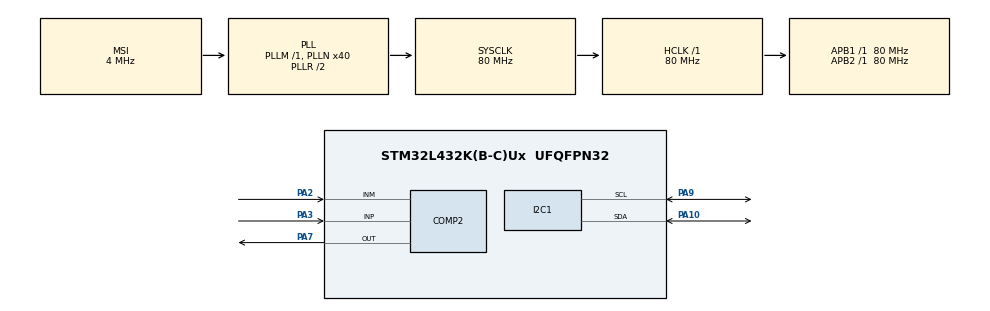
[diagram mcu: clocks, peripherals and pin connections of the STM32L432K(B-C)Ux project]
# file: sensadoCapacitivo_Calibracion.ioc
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COMP2.Hysteresis=COMP_HYSTERESIS_HIGH
COMP2.TriggerMode=COMP_TRIGGERMODE_IT_RISING
I2C1.NoStretchMode=I2C_NOSTRETCH_ENABLE
I2C1.OwnAddress=0x32
I2C1.Timing=0x10D19CE4
Mcu.Family=STM32L4
Mcu.Name=STM32L432K(B-C)Ux
Mcu.Package=UFQFPN32
NVIC.COMP_IRQn=true\:0\:0\:false\:false\:true\:false\:true\:true
NVIC.I2C1_ER_IRQn=true\:0\:0\:false\:false\:true\:true\:true\:true
NVIC.I2C1_EV_IRQn=true\:0\:0\:false\:false\:true\:true\:true\:true
NVIC.PriorityGroup=NVIC_PRIORITYGROUP_4
PA10.GPIO_Pu=GPIO_NOPULL
PA10.Mode=I2C
PA10.Signal=I2C1_SDA
PA13\ (JTMS-SWDIO).Mode=Serial_Wire
PA13\ (JTMS-SWDIO).Signal=SYS_JTMS-SWDIO
PA14\ (JTCK-SWCLK).Mode=Serial_Wire
PA14\ (JTCK-SWCLK).Signal=SYS_JTCK-SWCLK
PA2.Mode=INM
PA2.Signal=COMP2_INM
PA3.Mode=INP
PA3.Signal=COMP2_INP
PA7.Mode=ExternalOutput
PA7.Signal=COMP2_OUT
PA9.GPIO_Pu=GPIO_NOPULL
PA9.Mode=I2C
PA9.Signal=I2C1_SCL
ProjectManager.HeapSize=0x200
ProjectManager.StackSize=0x400
ProjectManager.TargetToolchain=STM32CubeIDE
RCC.AHBFreq_Value=80000000
RCC.APB1Freq_Value=80000000
RCC.APB1TimFreq_Value=80000000
RCC.APB2Freq_Value=80000000
RCC.APB2TimFreq_Value=80000000
RCC.CortexFreq_Value=80000000
RCC.HCLKFreq_Value=80000000
RCC.HSE_VALUE=8000000
RCC.HSI48_VALUE=48000000
RCC.HSI_VALUE=16000000
RCC.LSE_VALUE=32768
RCC.MSI_VALUE=4000000
RCC.PLLN=40
RCC.SYSCLKFreq_VALUE=80000000
RCC.SYSCLKSource=RCC_SYSCLKSOURCE_PLLCLK
RCC.VCOOutputFreq_Value=160000000
VP_TIM2_VS_ClockSourceINT.Mode=Internal
board=custom

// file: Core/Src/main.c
/* USER CODE BEGIN Header */
/**
  ******************************************************************************
  * @file           : main.c
  * @brief          : Main program body
  ******************************************************************************
  * @attention
  *
  * Copyright (c) 2026 STMicroelectronics.
  * All rights reserved.
  *
  * This software is licensed under terms that can be found in the LICENSE file
  * in the root directory of this software component.
  * If no LICENSE file comes with this software, it is provided AS-IS.
  *
  ******************************************************************************
  */
/* USER CODE END Header */
#include "main.h"

/* USER CODE BEGIN PTD */
typedef union {
	float float_freq;
	uint8_t bytes_freq[4];
} osc_freq_union;
/* USER CODE END PTD */

/* USER CODE BEGIN PD */
#define clk_freq	80000000.0	// 80 MHz
/* USER CODE END PD */

COMP_HandleTypeDef hcomp2;

I2C_HandleTypeDef hi2c1;

TIM_HandleTypeDef htim2;

/* USER CODE BEGIN PV */
// OSCILLATOR FREQUENCY (TIM) VARIABLES
volatile uint32_t ic_t1 = 0;	// Input capture (ic) initial time (in timer counter ticks)
volatile uint32_t ic_t2 = 0;	// Input capture (ic) final time (in timer counter ticks)
volatile uint32_t diff = 0;		// Period between ic_t1 and ic_t2 in timer ticks
volatile uint16_t first_ic = 1;	// ic_t1 input capture flag
volatile osc_freq_union osc_freq;	// Oscillator frequency

// I2C VARIABLES
uint8_t i2c_tx_buffer[4];	// 32-bit transmit buffer osc_freq (float) variable for I2C bus

/* USER CODE END PV */

void SystemClock_Config(void);
static void MX_GPIO_Init(void);
static void MX_COMP2_Init(void);
static void MX_I2C1_Init(void);
static void MX_TIM2_Init(void);

int main(void)
{

  /* MCU Configuration--------------------------------------------------------*/

  /* Reset of all peripherals, Initializes the Flash interface and the Systick. */
  HAL_Init();

  /* Configure the system clock */
  SystemClock_Config();

  /* Initialize all configured peripherals */
  MX_GPIO_Init();
  MX_COMP2_Init();
  MX_I2C1_Init();
  MX_TIM2_Init();
  /* USER CODE BEGIN 2 */
  // TIMER
  HAL_TIM_Base_Start(&htim2);

  // COMPARATOR (OSCILLATOR)
  HAL_COMP_Start_IT(&hcomp2);	// Starts the oscillator with external interrupt enabled

  HAL_I2C_Slave_Transmit_IT(&hi2c1, i2c_tx_buffer, 4);

  /* USER CODE END 2 */

  /* Infinite loop */
  /* USER CODE BEGIN WHILE */
  while (1)
  {
	  // HAL_PWR_EnterSLEEPMode(PWR_MAINREGULATOR_ON, PWR_SLEEPENTRY_WFI);	// Enters sleepMode and waits for interrupt
    /* USER CODE END WHILE */

  }
}

void SystemClock_Config(void)
{
  RCC_OscInitTypeDef RCC_OscInitStruct = {0};
  RCC_ClkInitTypeDef RCC_ClkInitStruct = {0};

  /** Configure the main internal regulator output voltage
  */
  if (HAL_PWREx_ControlVoltageScaling(PWR_REGULATOR_VOLTAGE_SCALE1) != HAL_OK)
  {
    Error_Handler();
  }

  /** Initializes the RCC Oscillators according to the specified parameters
  * in the RCC_OscInitTypeDef structure.
  */
  RCC_OscInitStruct.OscillatorType = RCC_OSCILLATORTYPE_MSI;
  RCC_OscInitStruct.MSIState = RCC_MSI_ON;
  RCC_OscInitStruct.MSICalibrationValue = 0;
  RCC_OscInitStruct.MSIClockRange = RCC_MSIRANGE_6;
  RCC_OscInitStruct.PLL.PLLState = RCC_PLL_ON;
  RCC_OscInitStruct.PLL.PLLSource = RCC_PLLSOURCE_MSI;
  RCC_OscInitStruct.PLL.PLLM = 1;
  RCC_OscInitStruct.PLL.PLLN = 40;
  RCC_OscInitStruct.PLL.PLLP = RCC_PLLP_DIV7;
  RCC_OscInitStruct.PLL.PLLQ = RCC_PLLQ_DIV2;
  RCC_OscInitStruct.PLL.PLLR = RCC_PLLR_DIV2;
  if (HAL_RCC_OscConfig(&RCC_OscInitStruct) != HAL_OK)
  {
    Error_Handler();
  }

  /** Initializes the CPU, AHB and APB buses clocks
  */
  RCC_ClkInitStruct.ClockType = RCC_CLOCKTYPE_HCLK|RCC_CLOCKTYPE_SYSCLK
                              |RCC_CLOCKTYPE_PCLK1|RCC_CLOCKTYPE_PCLK2;
  RCC_ClkInitStruct.SYSCLKSource = RCC_SYSCLKSOURCE_PLLCLK;
  RCC_ClkInitStruct.AHBCLKDivider = RCC_SYSCLK_DIV1;
  RCC_ClkInitStruct.APB1CLKDivider = RCC_HCLK_DIV1;
  RCC_ClkInitStruct.APB2CLKDivider = RCC_HCLK_DIV1;

  if (HAL_RCC_ClockConfig(&RCC_ClkInitStruct, FLASH_LATENCY_4) != HAL_OK)
  {
    Error_Handler();
  }
}

static void MX_COMP2_Init(void)
{

  hcomp2.Instance = COMP2;
  hcomp2.Init.InvertingInput = COMP_INPUT_MINUS_IO3;
  hcomp2.Init.NonInvertingInput = COMP_INPUT_PLUS_IO3;
  hcomp2.Init.OutputPol = COMP_OUTPUTPOL_NONINVERTED;
  hcomp2.Init.Hysteresis = COMP_HYSTERESIS_HIGH;
  hcomp2.Init.BlankingSrce = COMP_BLANKINGSRC_NONE;
  hcomp2.Init.Mode = COMP_POWERMODE_HIGHSPEED;
  hcomp2.Init.WindowMode = COMP_WINDOWMODE_DISABLE;
  hcomp2.Init.TriggerMode = COMP_TRIGGERMODE_IT_RISING;
  if (HAL_COMP_Init(&hcomp2) != HAL_OK)
  {
    Error_Handler();
  }

}

static void MX_I2C1_Init(void)
{

  hi2c1.Instance = I2C1;
  hi2c1.Init.Timing = 0x10D19CE4;
  hi2c1.Init.OwnAddress1 = 100;
  hi2c1.Init.AddressingMode = I2C_ADDRESSINGMODE_7BIT;
  hi2c1.Init.DualAddressMode = I2C_DUALADDRESS_DISABLE;
  hi2c1.Init.OwnAddress2 = 0;
  hi2c1.Init.OwnAddress2Masks = I2C_OA2_NOMASK;
  hi2c1.Init.GeneralCallMode = I2C_GENERALCALL_DISABLE;
  hi2c1.Init.NoStretchMode = I2C_NOSTRETCH_ENABLE;
  if (HAL_I2C_Init(&hi2c1) != HAL_OK)
  {
    Error_Handler();
  }

  /** Configure Analogue filter
  */
  if (HAL_I2CEx_ConfigAnalogFilter(&hi2c1, I2C_ANALOGFILTER_ENABLE) != HAL_OK)
  {
    Error_Handler();
  }

  /** Configure Digital filter
  */
  if (HAL_I2CEx_ConfigDigitalFilter(&hi2c1, 0) != HAL_OK)
  {
    Error_Handler();
  }

}

static void MX_TIM2_Init(void)
{

  TIM_ClockConfigTypeDef sClockSourceConfig = {0};
  TIM_MasterConfigTypeDef sMasterConfig = {0};

  htim2.Instance = TIM2;
  htim2.Init.Prescaler = 0;
  htim2.Init.CounterMode = TIM_COUNTERMODE_UP;
  htim2.Init.Period = 4294967295;
  htim2.Init.ClockDivision = TIM_CLOCKDIVISION_DIV1;
  htim2.Init.AutoReloadPreload = TIM_AUTORELOAD_PRELOAD_DISABLE;
  if (HAL_TIM_Base_Init(&htim2) != HAL_OK)
  {
    Error_Handler();
  }
  sClockSourceConfig.ClockSource = TIM_CLOCKSOURCE_INTERNAL;
  if (HAL_TIM_ConfigClockSource(&htim2, &sClockSourceConfig) != HAL_OK)
  {
    Error_Handler();
  }
  sMasterConfig.MasterOutputTrigger = TIM_TRGO_RESET;
  sMasterConfig.MasterSlaveMode = TIM_MASTERSLAVEMODE_DISABLE;
  if (HAL_TIMEx_MasterConfigSynchronization(&htim2, &sMasterConfig) != HAL_OK)
  {
    Error_Handler();
  }

}

static void MX_GPIO_Init(void)
{

  /* GPIO Ports Clock Enable */
  __HAL_RCC_GPIOA_CLK_ENABLE();

}

/* USER CODE BEGIN 4 */
void HAL_COMP_TriggerCallback(COMP_HandleTypeDef *hcomp)
{
	if(hcomp->Instance == COMP2)
	{
		if(first_ic == 1)
		{
			ic_t1 = __HAL_TIM_GET_COUNTER(&htim2);
			first_ic = 0;
		}
		else
		{
			ic_t2 = __HAL_TIM_GET_COUNTER(&htim2);
			diff = (ic_t2 > ic_t1) ? (ic_t2 - ic_t1) : (0xFFFFFFFF - ic_t1 + ic_t2 + 1);
		}

		osc_freq.float_freq = clk_freq / (float)diff;

		i2c_tx_buffer[0] = osc_freq.bytes_freq[0];
		i2c_tx_buffer[1] = osc_freq.bytes_freq[1];
		i2c_tx_buffer[2] = osc_freq.bytes_freq[2];
		i2c_tx_buffer[3] = osc_freq.bytes_freq[3];

		ic_t1 = ic_t2;
	}
}

/* void HAL_TIM_IC_CaptureCallback(TIM_HandleTypeDef *htim)
{
	// Checks for timer 2 and channel 2 in case other timers/channels are enabled in the future
	if(htim->Instance == TIM2 && htim->Channel == HAL_TIM_ACTIVE_CHANNEL_2)
	{
		// Checks if it is goint to read ic_t1
		if(first_ic == 1)
		{
			ic_t1 = HAL_TIM_ReadCapturedValue(htim, TIM_CHANNEL_2);	// Reads captured value as ic_t1
			first_ic = 0;	// Clears the first_ic flag so it reads ic_t2 on the next input capture (ic)
		}
		else
		{
			ic_t2 = HAL_TIM_ReadCapturedValue(htim, TIM_CHANNEL_2);	// Reads cptured value as ic_t2
			diff = (ic_t1 < ic_t2) ? (ic_t2 - ic_t1):(0xFFFFFFFF - ic_t1 + ic_t2);
			 *
			 * Signal period in ticks is t2-t1 if t2>t1 and 0xFFFF_FFFF - t1 + t2 if t1 > t2
			 * NOTE: It is no necessary to check for other scenarios, because 32 bits timer period at 80[MHz] is 53.687[s] which would be equivalent to 3.87 [mF]
			 *
			osc_freq.float_freq = clk_freq/diff; // Calculates signal freqeuency

			// I2C Transmitt (tx) buffer update
			i2c_tx_buffer[0] = osc_freq.bytes_freq[0];
			i2c_tx_buffer[1] = osc_freq.bytes_freq[1];
			i2c_tx_buffer[2] = osc_freq.bytes_freq[2];
			i2c_tx_buffer[3] = osc_freq.bytes_freq[3];

			// Setup for next osc_freq calculation
			__HAL_TIM_SET_COUNTER(htim, 0);	// Resets timer counter to 0
			first_ic = 1;	// Sets the first_ic flag so it waits awain for the ic_t1 value
		}
	}

}
*/

void HAL_I2C_AddrCallback(I2C_HandleTypeDef *hi2c, uint8_t transfer_direction, uint16_t address)
{
	if(hi2c->Instance == I2C1)
	{
		if(transfer_direction == I2C_DIRECTION_TRANSMIT)
		{
			HAL_I2C_Slave_Seq_Transmit_IT(hi2c, i2c_tx_buffer, 4, I2C_FIRST_AND_LAST_FRAME);
		}
	}
}

void HAL_I2C_SlaveTxCpltCallback(I2C_HandleTypeDef *hi2c)
{
	if(hi2c->Instance == I2C1)
		{
			// The Pico just finished reading the data.
			// Immediately preload the buffer again for the next read request!
			HAL_I2C_Slave_Transmit_IT(&hi2c1, i2c_tx_buffer, 4);
		}
}
/* USER CODE END 4 */

void Error_Handler(void)
{
  __disable_irq();
  while (1)
  {
  }
}
